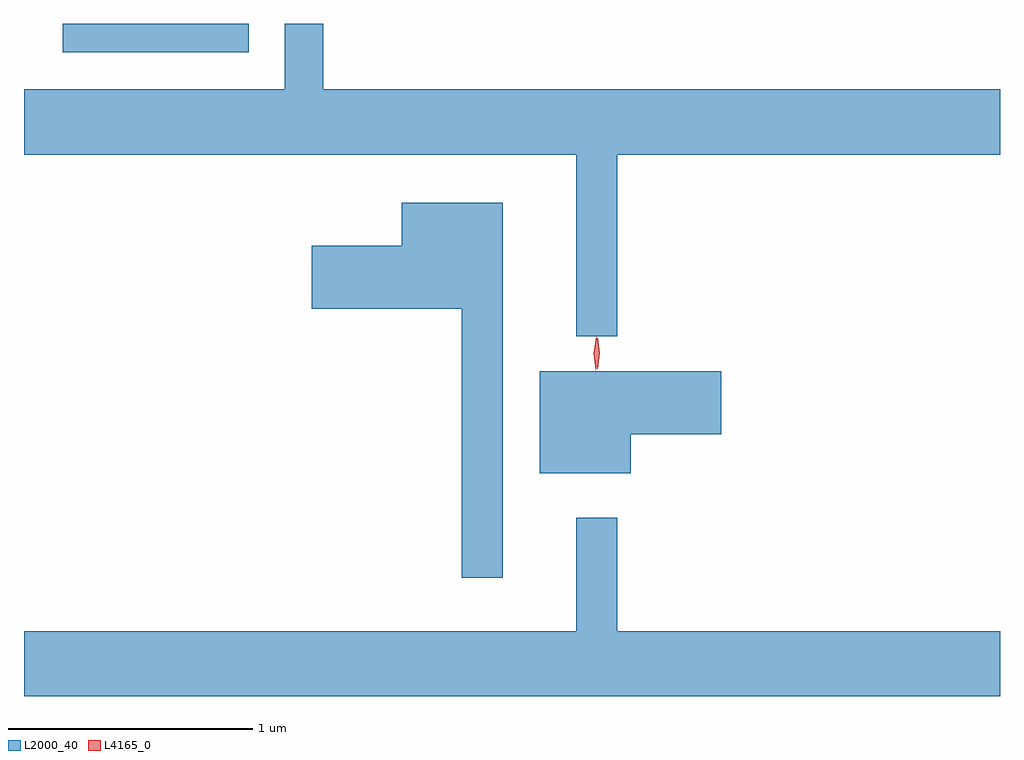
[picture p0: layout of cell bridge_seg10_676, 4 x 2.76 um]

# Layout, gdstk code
import gdstk
lib = gdstk.Library(unit=1e-6, precision=1e-09)
def R(c, l, rs):  # rectangles x0, y0, x1, y1
    for r in rs: c.add(gdstk.rectangle(r[:2], r[2:], *l))
def P(c, l, *ps):  # polygons
    for p in ps: c.add(gdstk.Polygon(p, *l))
L2000_40 = (2000, 40)
L4165_0 = (4165, 0)

bridge_seg10_676 = lib.new_cell('bridge_seg10_676')
R(bridge_seg10_676, L2000_40, [(885.456,2087.696,886.218,2087.814)])
P(bridge_seg10_676, L2000_40, [(887.729,2087.276),(889.297,2087.276),(889.297,2087.544),(886.524,2087.544),(886.524,2087.814),(886.366,2087.814),(886.366,2087.544),(885.297,2087.544),(885.297,2087.276),(887.561,2087.276),(887.561,2086.533),(887.729,2086.533)],
  [(887.259,2087.079),(886.846,2087.079),(886.846,2086.904),(886.476,2086.904),(886.476,2086.646),(887.091,2086.646),(887.091,2085.543),(887.259,2085.543)],
  [(887.784,2086.131),(888.154,2086.131),(888.154,2086.389),(887.411,2086.389),(887.411,2085.971),(887.784,2085.971)],
  [(889.297,2085.324),(887.729,2085.324),(887.729,2085.788),(887.561,2085.788),(887.561,2085.324),(885.297,2085.324),(885.297,2085.056),(889.297,2085.056)])
P(bridge_seg10_676, L4165_0, [(887.64,2086.394),(887.632,2086.462),(887.642,2086.53),(887.642,2086.53),(887.643,2086.53),(887.652,2086.462),(887.641,2086.394),(887.641,2086.394)],
  [(887.647,2086.4),(887.647,2086.4),(887.638,2086.463),(887.647,2086.526),(887.647,2086.527),(887.648,2086.526),(887.657,2086.463),(887.648,2086.4)])

lib.write_gds('bridge_seg10_676.gds')
